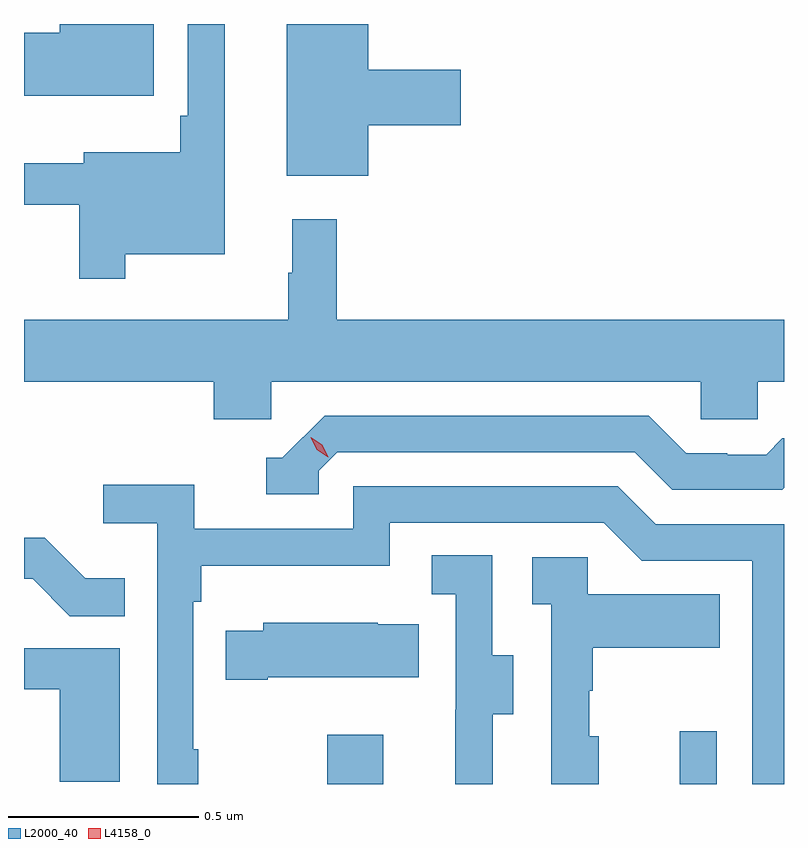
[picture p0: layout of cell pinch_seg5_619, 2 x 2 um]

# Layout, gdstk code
import gdstk
lib = gdstk.Library(unit=1e-6, precision=1e-09)
def R(c, l, rs):  # rectangles x0, y0, x1, y1
    for r in rs: c.add(gdstk.rectangle(r[:2], r[2:], *l))
def P(c, l, *ps):  # polygons
    for p in ps: c.add(gdstk.Polygon(p, *l))
L2000_40 = (2000, 40)
L4158_0 = (4158, 0)

pinch_seg5_619 = lib.new_cell('pinch_seg5_619')
R(pinch_seg5_619, L2000_40, [(1030.072,854.37,1030.219,854.5), (1031,854.37,1031.097,854.509)])
P(pinch_seg5_619, L2000_40, [(1029.616,856.369),(1029.502,856.369),(1029.502,856.37),(1029.368,856.37),(1029.368,856.347),(1029.274,856.347),(1029.274,856.181),(1029.616,856.181)],
  [(1029.541,855.764),(1029.802,855.764),(1029.802,856.37),(1029.705,856.37),(1029.705,856.129),(1029.685,856.129),(1029.685,856.033),(1029.431,856.033),(1029.431,856.003),(1029.274,856.003),(1029.274,855.894),(1029.42,855.894),(1029.42,855.699),(1029.541,855.699)],
  [(1030.18,856.103),(1030.423,856.103),(1030.423,856.25),(1030.18,856.25),(1030.18,856.37),(1029.965,856.37),(1029.965,855.971),(1030.18,855.971)],
  [(1029.924,855.428),(1031.055,855.428),(1031.055,855.33),(1031.205,855.33),(1031.205,855.428),(1031.274,855.428),(1031.274,855.592),(1030.097,855.592),(1030.097,855.856),(1029.98,855.856),(1029.98,855.716),(1029.969,855.716),(1029.969,855.592),(1029.274,855.592),(1029.274,855.428),(1029.773,855.428),(1029.773,855.33),(1029.924,855.33)],
  [(1030.05,855.195),(1030.098,855.243),(1030.881,855.243),(1030.98,855.144),(1031.269,855.144),(1031.274,855.149),(1031.274,855.28),(1031.269,855.28),(1031.227,855.237),(1031.124,855.237),(1031.124,855.24),(1031.017,855.24),(1030.918,855.339),(1030.065,855.339),(1029.954,855.228),(1029.911,855.228),(1029.911,855.132),(1030.05,855.132)],
  [(1029.733,854.461),(1029.72,854.461),(1029.72,854.849),(1029.74,854.849),(1029.74,854.945),(1030.236,854.945),(1030.236,855.057),(1030.8,855.057),(1030.899,854.958),(1031.19,854.958),(1031.19,854.37),(1031.274,854.37),(1031.274,855.054),(1030.936,855.054),(1030.837,855.153),(1030.14,855.153),(1030.14,855.042),(1029.722,855.042),(1029.722,855.158),(1029.483,855.158),(1029.483,855.056),(1029.624,855.056),(1029.624,854.37),(1029.733,854.37)],
  [(1029.539,854.911),(1029.435,854.911),(1029.328,855.018),(1029.274,855.018),(1029.274,854.91),(1029.297,854.91),(1029.395,854.812),(1029.539,854.812)],
  [(1030.507,854.554),(1030.561,854.554),(1030.561,854.709),(1030.506,854.709),(1030.506,854.972),(1030.347,854.972),(1030.347,854.869),(1030.41,854.869),(1030.41,854.565),(1030.409,854.565),(1030.409,854.37),(1030.507,854.37)],
  [(1030.786,854.496),(1030.761,854.496),(1030.761,854.615),(1030.771,854.615),(1030.771,854.729),(1031.105,854.729),(1031.105,854.869),(1030.758,854.869),(1030.758,854.967),(1030.611,854.967),(1030.611,854.843),(1030.662,854.843),(1030.662,854.37),(1030.786,854.37)],
  [(1029.916,854.651),(1030.313,854.651),(1030.313,854.791),(1030.205,854.791),(1030.205,854.794),(1029.903,854.794),(1029.903,854.773),(1029.805,854.773),(1029.805,854.644),(1029.916,854.644)],
  [(1029.526,854.727),(1029.274,854.727),(1029.274,854.619),(1029.368,854.619),(1029.368,854.376),(1029.526,854.376)])
P(pinch_seg5_619, L4158_0, [(1030.075,855.23),(1030.044,855.25),(1030.029,855.282),(1030.029,855.283),(1030.029,855.283),(1030.059,855.263),(1030.075,855.23),(1030.075,855.23)])

lib.write_gds('pinch_seg5_619.gds')
